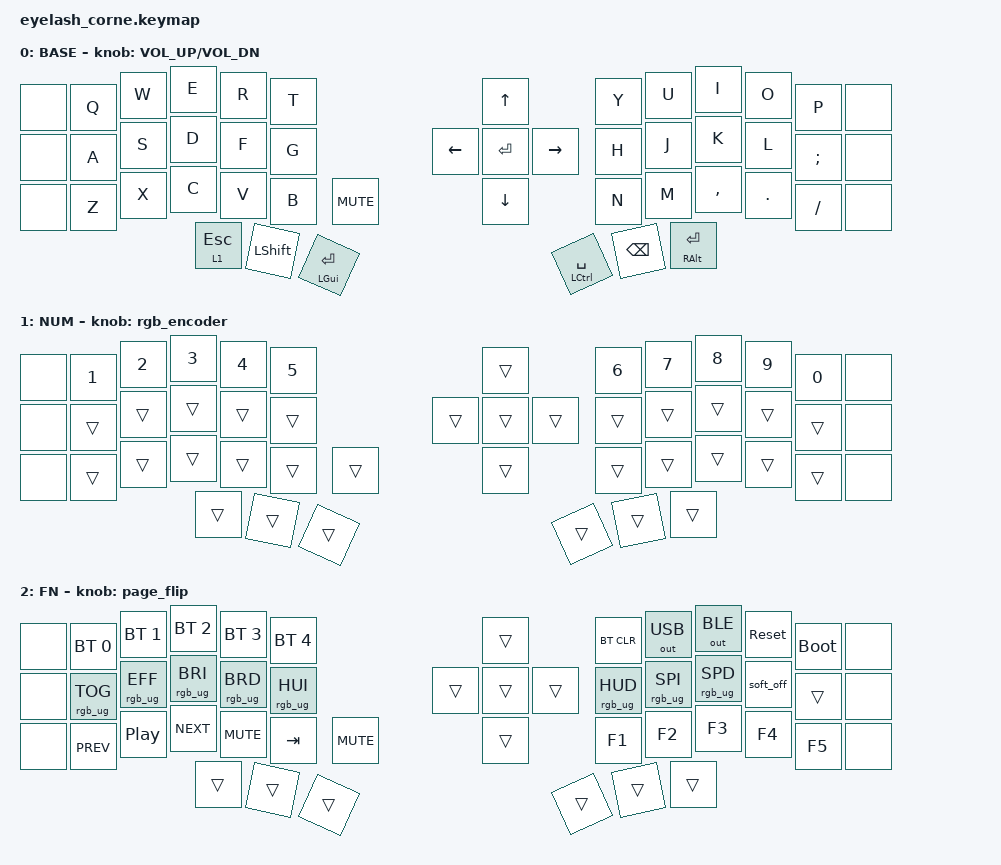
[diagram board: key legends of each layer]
#include <behaviors.dtsi>
#include <dt-bindings/zmk/bt.h>
#include <dt-bindings/zmk/keys.h>
#include <dt-bindings/zmk/outputs.h>
#include <dt-bindings/zmk/rgb.h>

/* Long hold to soft-off, so it can't happen by accident. */
&soft_off { hold-time-ms = <3000>; };

/ {
    /* Hold both inner thumbs together for FN; release either to leave. */
    combos {
        compatible = "zmk,combos";
        fn_thumbs {
            timeout-ms = <40>;
            key-positions = <44 45>;
            bindings = <&mo 2>;
            layers = <0 1>;
        };
    };

    /* Encoder rotation on FN advances the status screen page. */
    behaviors {
        page_next: page_next {
            compatible = "beopylar,behavior-display-page";
            #binding-cells = <1>;
        };
        page_prev: page_prev {
            compatible = "beopylar,behavior-display-page";
            #binding-cells = <1>;
        };
    };

    /* Encoder rotation on FN flips the status screen page: clockwise to the
     * next one, counter-clockwise back. Only rotation is wrapped, so the click
     * keeps falling through to the mute key on BASE. */
    page_flip: page_flip {
        compatible = "zmk,behavior-sensor-rotate";
        #sensor-binding-cells = <0>;
        bindings = <&page_next 1>, <&page_prev (-1)>;
    };

    /* Layer-dependent encoder: volume on BASE, RGB brightness on NUM. */
    rgb_encoder: rgb_encoder {
        compatible = "zmk,behavior-sensor-rotate";
        #sensor-binding-cells = <0>;
        bindings = <&rgb_ug RGB_BRI>, <&rgb_ug RGB_BRD>;
    };

    keymap {
        compatible = "zmk,keymap";

        /* BASE – the five columns each hand actually uses; outer columns unbound.
         *
         * OS layout: Beopylar QG (Kalamine, beopylar.toml, fr).
         * The firmware sends *positions*, and the OS turns a position into its
         * character, so the letters below are the plain US positions and must
         * not be shuffled. What each one types with this layout:
         *
         *   q w e r t   ->  b ¨ o p y     (¨ = the 1dk dead key: é è à ç œ ...)
         *   a s d f g   ->  a u e i ,
         *   z x c v b   ->  z k x . w
         *   y u i o p   ->  - v d l j
         *   h j k l ;   ->  c t s r n
         *   n m , . /   ->  m q g h f
         *
         * Shift and AltGr are both thumbs, so with these 30 keys alone the whole
         * layout is reachable except the number row: 144 of its 187 characters.
         *   AltGr      -> @ < > $ % ^ & * ' " ` ~ [ ] { } ( ) = + - / _ \ | ; : ? !
         *   Shift      -> capitals, ; : ? and the number row's symbols on NUM
         *   1dk (W)    -> é è à ç œ ù î û ê ô ñ æ ß ŭ and the dead keys ´ ` ^ ¨ ~
         *
         *   hold left  thumb 1  -> NUM  (tap = ESC; only the thumb holds the
         *                                 layer, so every finger keeps its digit)
         *   hold left  thumb 3  -> GUI  (tap = ENTER)
         *   hold right thumb 3  -> ALT  (AltGr; tap = ENTER, so GUI + ENTER is
         *                                 left thumb held, right thumb tapped)
         *   both inner thumbs   -> FN   (ENTER/GUI + SPACE/CTRL together;
         *                                 hold for FN, release either to leave)
         *   encoder click       -> MUTE (plain key, no hold action)
         *   the 5-way is only ENTER and the arrows, nothing else.
         *   the encoder is only volume (turn) and mute (click).
         *   right thumb 2 is a plain BSPC so holding it repeats.
         *   left thumb 2 is a plain SHIFT and right thumb 1 is SPACE/CTRL, as
         *   they always were; TAB lives on FN (the free cell next to PLAY),
         *   because SHIFT+TAB is impossible while SHIFT sits on the same thumb
         *   that would have to tap TAB.
         *   FN + encoder turn  -> flip the status screen (status, link); while a
         *   BLE profile is open for pairing the screen shows that instead
         */
        default_layer {
            display-name = "BASE";
            bindings = <
&none     &kp Q    &kp W    &kp E    &kp R    &kp T                                 &kp UP                       &kp Y     &kp U     &kp I     &kp O     &kp P     &none
&none     &kp A    &kp S    &kp D    &kp F    &kp G                       &kp LEFT  &kp ENTER        &kp RIGHT             &kp H     &kp J     &kp K     &kp L     &kp SEMI  &none
&none     &kp Z    &kp X    &kp C    &kp V    &kp B               &kp C_MUTE         &kp DOWN                     &kp N     &kp M     &kp COMMA &kp DOT   &kp FSLH  &none
                                     &lt 1 ESC     &kp LSHFT      &mt LGUI ENTER                          &mt LCTRL SPACE  &kp BSPC   &mt RALT ENTER
            >;

            sensor-bindings = <&inc_dec_kp C_VOL_UP C_VOL_DN>;
        };

        /* NUM – held from the left ESC/NUM thumb. The
         * number row is the only thing these 30 keys cannot reach on their own.
         * The OS layout still decides what the digits look like: Shift gives
         * the number row's symbols (! @ # $ % ^ & * ( )), AltGr its subscripts.
         */
        number_layer {
            display-name = "NUM";
            bindings = <
&none     &kp N1      &kp N2      &kp N3      &kp N4      &kp N5                                &trans                       &kp N6   &kp N7   &kp N8   &kp N9   &kp N0    &none
&none     &trans      &trans      &trans      &trans      &trans                       &trans  &trans  &trans                &trans   &trans   &trans   &trans   &trans    &none
&none     &trans      &trans      &trans      &trans      &trans               &trans         &trans                       &trans   &trans   &trans   &trans   &trans    &none
                                     &trans  &trans  &trans                                     &trans  &trans  &trans
            >;

            sensor-bindings = <&rgb_encoder>;
        };

        /* FN – bluetooth, underglow, media, function keys, reset. */
        fn_layer {
            display-name = "FN";
            bindings = <
&none     &bt BT_SEL 0  &bt BT_SEL 1  &bt BT_SEL 2  &bt BT_SEL 3  &bt BT_SEL 4                           &trans                        &bt BT_CLR  &out OUT_USB  &out OUT_BLE  &sys_reset  &bootloader  &none
&none     &rgb_ug RGB_TOG  &rgb_ug RGB_EFF  &rgb_ug RGB_BRI  &rgb_ug RGB_BRD  &rgb_ug RGB_HUI     &trans  &trans  &trans                &rgb_ug RGB_HUD  &rgb_ug RGB_SPI  &rgb_ug RGB_SPD  &soft_off  &trans  &none
&none     &kp C_PREV    &kp C_PP      &kp C_NEXT    &kp C_MUTE    &kp TAB                   &kp C_MUTE     &trans                &kp F1  &kp F2  &kp F3  &kp F4  &kp F5  &none
                                     &trans  &trans  &trans                                     &trans  &trans  &trans
            >;

            sensor-bindings = <&page_flip>;
        };
    };
};
